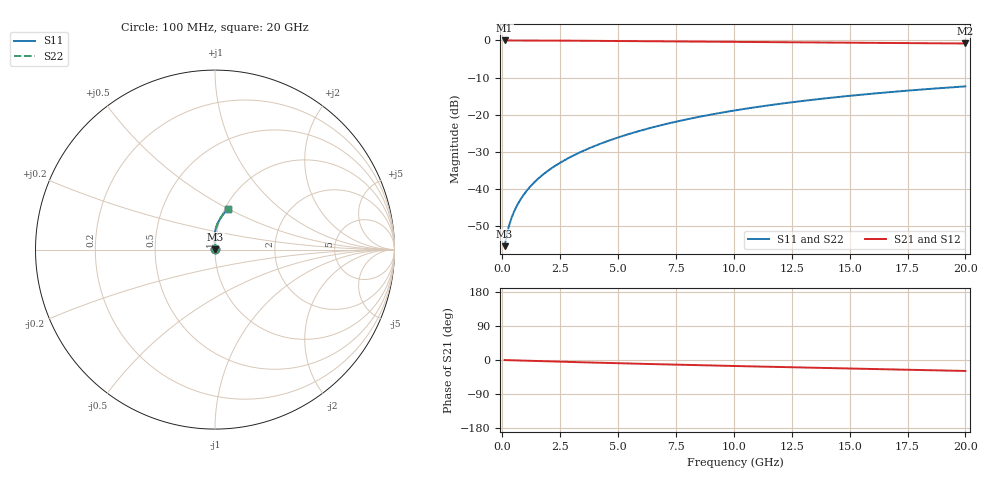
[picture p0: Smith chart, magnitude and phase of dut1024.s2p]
! Touchstone file exported from HFSS 2024.1.0
!  File:  C:/UserFiles/LocalFiles/RDL_TSV_Batchsim/temp_RDL_bottom_1024_1780050857.aedt
!  Generated:  06:36:39 PM May 29, 2026
!  Design:  RDL_bottom
!  Project:  temp_RDL_bottom_1024_1780050857
!  Setup:  Setup1
!  Solution:  Sweep
! Variables:
!  dtsv = 10.80580581um
!  hbump = 3um
!  htsv = 89.1um
!  ldown = 416.98um
!  lrdl = 100um
!  p = 40
!  p1 = 53.67um
!  rhole = 1um
!  t = 450um
!  tdown = 4.49um
!  trdl = 3.915915916um
!  wdown = 29.43um
!  wrdl = 20um
# GHz S MA R 50.000000
! Terminal data exported
! Port[1] = RDL1_T1
! Port[2] = RDL1_T2
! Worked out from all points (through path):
!   200 points, 100 MHz to 20 GHz, reference 50 ohm
!   highest |S21| = -0.01 dB at 100 MHz (marker M1); lowest = -0.8 dB at 20 GHz (marker M2)
!   group delay of S21, straight-line fit = 3.94 ps
!   lowest |S11| = -55.5 dB at 100 MHz (marker M3), VSWR 1.00, Z = 50.1 + j0.102 ohm
!   |S11| at or under -10 dB: start of sweep to end of sweep
!   |S22| runs from -55.5 to -12.4 dB; largest |S21 - S12| = 5.1e-15
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0.1  0.001683 37.3  0.9986 -0.2  0.9986 -0.2  0.001683 37.3
! Gamma 0 0 0 0
! Port Impedance 50 0 50 0
0.2  0.002443 54.0  0.9985 -0.4  0.9985 -0.4  0.002444 54.0
0.3  0.00325 61.9  0.9984 -0.6  0.9984 -0.6  0.00325 61.9
0.4  0.004049 66.9  0.9982 -0.7  0.9982 -0.7  0.004049 66.9
0.5  0.004846 70.5  0.9981 -0.9  0.9981 -0.9  0.004846 70.5
0.6  0.005648 73.3  0.998 -1.1  0.998 -1.1  0.005648 73.3
0.8  0.007275 77.4  0.9977 -1.4  0.9977 -1.4  0.007275 77.4
1.1  0.009784 81.5  0.9972 -2.0  0.9972 -2.0  0.009784 81.5
1.3  0.0115 83.5  0.9968 -2.3  0.9968 -2.3  0.0115 83.5
1.6  0.01413 85.7  0.9961 -2.9  0.9961 -2.9  0.01413 85.7
2.1  0.01867 88.3  0.9947 -3.7  0.9947 -3.7  0.01867 88.3
2.7  0.02438 90.4  0.9926 -4.8  0.9926 -4.8  0.02438 90.4
3.5  0.03249 92.2  0.9892 -6.1  0.9892 -6.1  0.03249 92.2
4.2  0.04004 93.0  0.9859 -7.2  0.9859 -7.2  0.04004 93.0
5  0.04915 93.3  0.9818 -8.5  0.9818 -8.5  0.04915 93.3
6.8  0.07118 92.5  0.9722 -11.2  0.9722 -11.2  0.07119 92.5
8.4  0.09194 90.6  0.9636 -13.6  0.9636 -13.6  0.09195 90.7
10.1  0.1145 88.1  0.9549 -15.9  0.9549 -15.9  0.1146 88.1
11.7  0.1359 85.5  0.947 -18.1  0.947 -18.1  0.1359 85.5
13.4  0.1583 82.7  0.9389 -20.4  0.9389 -20.4  0.1583 82.7
16.7  0.2005 77.2  0.9236 -24.7  0.9236 -24.7  0.2005 77.2
20  0.2401 72.0  0.9087 -28.9  0.9087 -28.9  0.2402 72.0
